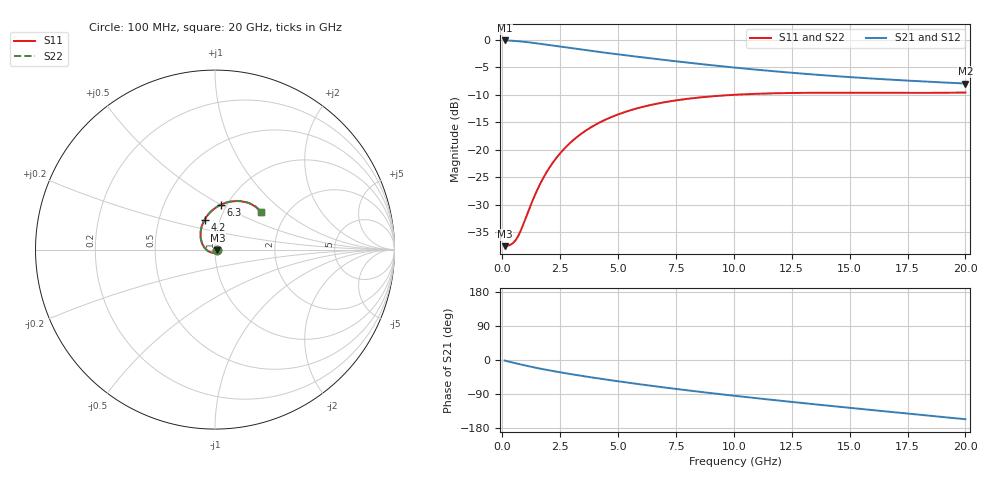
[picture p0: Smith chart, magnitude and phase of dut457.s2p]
! Touchstone file exported from HFSS 2024.1.0
!  File:  C:/UserFiles/LocalFiles/RDL_TSV_Batchsim/temp_RDL_TSV_457_1779726314.aedt
!  Generated:  12:41:24 AM May 26, 2026
!  Design:  RDL_TSV
!  Project:  temp_RDL_TSV_457_1779726314
!  Setup:  Setup1
!  Solution:  Sweep
! Variables:
!  dtsv = 11.34um
!  hbump = 3um
!  htsv = 91.61um
!  ldown = 151.08um
!  lrdl = 319.39um
!  p = 40
!  p1 = 47.13um
!  rhole = 10um
!  subl = 1730.8um
!  t = 450um
!  tdown = 4.68um
!  trdl = 3.56um
!  viad = 10um
!  wdown = 22.6um
!  wrdl = 11.42um
!  xbump = 18um
# GHz S MA R 50.000000
! Terminal data exported
! Port[1] = TM1_1_T1
! Port[2] = TM1_4_T1
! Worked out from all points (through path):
!   200 points, 100 MHz to 20 GHz, reference 50 ohm
!   highest |S21| = -0.12 dB at 100 MHz (marker M1); lowest = -8.0 dB at 20 GHz (marker M2)
!   group delay of S21, straight-line fit = 20.3 ps
!   lowest |S11| = -37.6 dB at 100 MHz (marker M3), VSWR 1.03, Z = 51.3 - j0.286 ohm
!   |S11| at or under -10 dB: start of sweep to 10.07 GHz
!   |S22| runs from -37.6 to -9.6 dB; largest |S21 - S12| = 2e-14
!   S11 on the Smith chart (normalised r, x): 100 MHz: 1.03, -0.01; 4.2 GHz: 0.85, +0.29; 6.3 GHz: 0.94, +0.50; 20 GHz: 1.50, +0.70
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0.1  0.01324 -12.2  0.9864 -1.5  0.9864 -1.5  0.01324 -12.2
! Gamma 0 0 0 0
! Port Impedance 50 0 50 0
0.4  0.01381 -52.4  0.9807 -6.0  0.9807 -6.0  0.0138 -52.4
0.6  0.01525 -82.1  0.9743 -9.0  0.9743 -9.0  0.01525 -82.1
0.7  0.01659 -96.6  0.9704 -10.4  0.9704 -10.4  0.01659 -96.6
1.5  0.04259 -172.5  0.9279 -21.1  0.9279 -21.1  0.04266 -172.6
1.8  0.05673 172.0  0.9093 -24.7  0.9093 -24.7  0.05684 171.9
2.1  0.07189 159.5  0.8907 -28.2  0.8907 -28.2  0.07204 159.5
2.4  0.08754 149.2  0.8723 -31.4  0.8723 -31.4  0.08773 149.2
2.7  0.1033 140.4  0.8545 -34.6  0.8545 -34.6  0.1035 140.3
3.1  0.124 130.3  0.8317 -38.7  0.8317 -38.7  0.1243 130.3
3.5  0.144 121.7  0.81 -42.5  0.81 -42.5  0.1444 121.6
4.2  0.1766 109.0  0.7746 -49.1  0.7746 -49.1  0.177 109.0
5.2  0.2167 94.8  0.7284 -57.9  0.7284 -57.9  0.2173 94.8
6.3  0.252 82.6  0.6825 -67.0  0.6825 -67.0  0.2527 82.6
6.8  0.2652 77.9  0.6631 -70.9  0.6631 -70.9  0.2659 77.9
8.4  0.2968 65.7  0.607 -83.0  0.607 -83.0  0.2977 65.7
10.1  0.3165 56.1  0.557 -94.9  0.557 -94.9  0.3175 56.1
11.7  0.3258 49.6  0.518 -105.5  0.518 -105.5  0.327 49.6
13.4  0.3295 44.6  0.484 -116.3  0.484 -116.3  0.3307 44.6
15  0.3296 41.5  0.4577 -126.2  0.4577 -126.2  0.331 41.5
16.7  0.3287 39.6  0.4346 -136.5  0.4346 -136.5  0.3301 39.6
20  0.3314 39.0  0.4001 -156.3  0.4001 -156.3  0.3327 38.9
